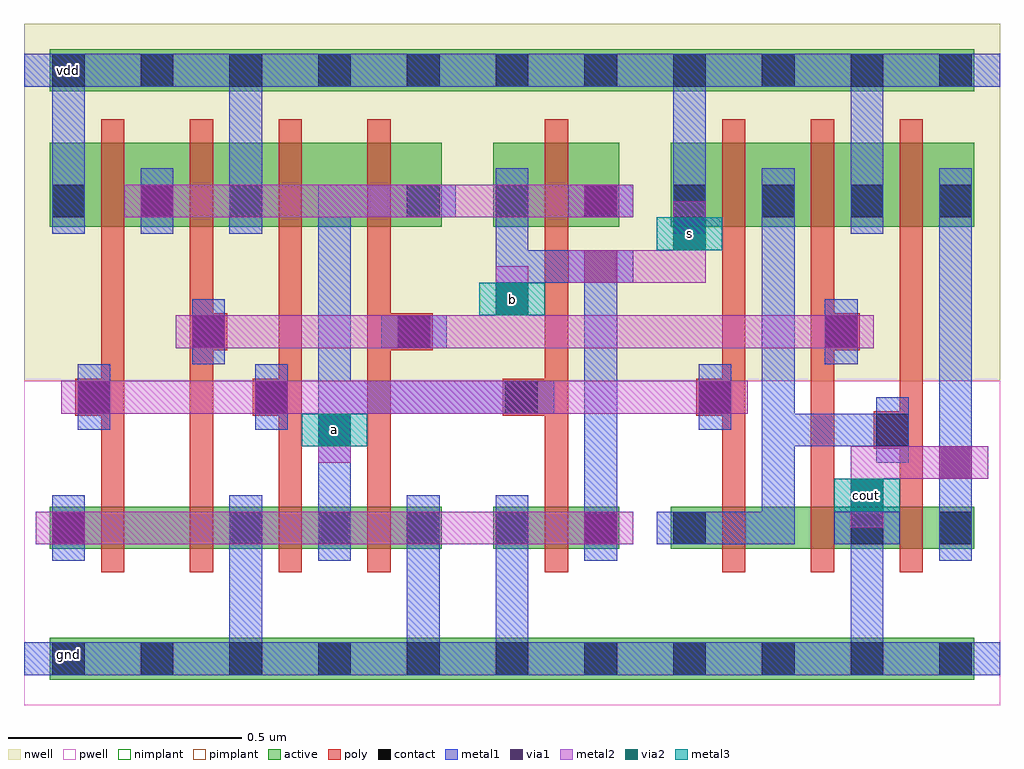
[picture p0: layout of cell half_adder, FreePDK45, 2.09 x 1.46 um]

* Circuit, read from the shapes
.subckt half_adder a b cout gnd s vdd
M1 n1 a s gnd nfet w=0.09u l=0.05u
M2 gnd b n1 gnd nfet w=0.09u l=0.05u
M3 n2 a gnd gnd nfet w=0.09u l=0.05u
M4 gnd b n2 gnd nfet w=0.09u l=0.05u
M5 s n2 gnd gnd nfet w=0.09u l=0.05u
M6 n3 a n4 gnd nfet w=0.09u l=0.05u
M7 gnd b n3 gnd nfet w=0.09u l=0.05u
M8 cout n4 gnd gnd nfet w=0.09u l=0.05u
M9 n5 a vdd vdd pfet w=0.18u l=0.05u
M10 vdd b n5 vdd pfet w=0.18u l=0.05u
M11 n6 a vdd vdd pfet w=0.18u l=0.05u
M12 n2 b n6 vdd pfet w=0.18u l=0.05u
M13 n5 n2 s vdd pfet w=0.18u l=0.05u
M14 n4 a vdd vdd pfet w=0.18u l=0.05u
M15 vdd b n4 vdd pfet w=0.18u l=0.05u
M16 cout n4 vdd vdd pfet w=0.18u l=0.05u
.ends

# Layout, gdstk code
import gdstk
lib = gdstk.Library(unit=1e-6, precision=5e-10)
def R(c, l, rs):  # rectangles x0, y0, x1, y1
    for r in rs: c.add(gdstk.rectangle(r[:2], r[2:], *l))
def A(c, l, x, y, w, h, nx, ny, dx, dy):  # array of equal rectangles
    R(c, l, [(x+i*dx, y+j*dy, x+i*dx+w, y+j*dy+h) for i in range(nx) for j in range(ny)])
active = (1, 0)
pwell = (2, 0)
nwell = (3, 0)
nimplant = (4, 0)
pimplant = (5, 0)
poly = (9, 0)
contact = (10, 0)
metal1 = (11, 0)
via1 = (12, 0)
metal2 = (13, 0)
via2 = (14, 0)
metal3 = (15, 0)

half_adder = lib.new_cell('half_adder')
R(half_adder, active, [(0.055,-0.045,2.035,0.045), (0.055,0.235,0.895,0.325), (1.005,0.235,1.275,0.325), (1.385,0.235,2.035,0.325), (0.055,0.925,0.895,1.105), (1.005,0.925,1.275,1.105), (1.385,0.925,2.035,1.105), (0.055,1.215,2.035,1.305)])
R(half_adder, pwell, [(0,-0.1,2.09,0.595)])
R(half_adder, nwell, [(0,0.595,2.09,1.36)])
R(half_adder, nimplant, [(0.055,0.235,0.895,0.325), (1.005,0.235,1.275,0.325), (1.385,0.235,2.035,0.325), (0.055,1.215,2.035,1.305)])
R(half_adder, pimplant, [(0.055,-0.045,2.035,0.045), (0.055,0.925,0.895,1.105), (1.005,0.925,1.275,1.105), (1.385,0.925,2.035,1.105)])
A(half_adder, poly, 0.165, 0.185, 0.05, 0.97, 4, 1, 0.19, 0)
A(half_adder, poly, 1.495, 0.185, 0.05, 0.97, 3, 1, 0.19, 0)
R(half_adder, poly, [(1.115,0.185,1.165,1.155), (1.82,0.45,1.875,0.53), (0.11,0.52,0.165,0.6), (0.49,0.52,0.545,0.6), (1.025,0.52,1.115,0.6), (1.44,0.52,1.495,0.6), (0.405,0.66,0.435,0.74), (0.785,0.66,0.875,0.74), (1.735,0.66,1.79,0.74)])
A(half_adder, contact, 0.06, -0.035, 0.07, 0.07, 11, 2, 0.19, 1.26)
A(half_adder, contact, 0.44, 0.245, 0.07, 0.07, 6, 1, 0.19, 0)
A(half_adder, contact, 0.06, 0.945, 0.07, 0.07, 3, 1, 0.19, 0)
A(half_adder, contact, 0.82, 0.945, 0.07, 0.07, 7, 1, 0.19, 0)
R(half_adder, contact, [(0.06,0.245,0.13,0.315), (1.77,0.245,1.84,0.315), (1.96,0.245,2.03,0.315), (1.825,0.455,1.895,0.525), (0.115,0.525,0.185,0.595), (0.495,0.525,0.565,0.595), (1.03,0.525,1.1,0.595), (1.445,0.525,1.515,0.595), (0.36,0.665,0.43,0.735), (0.8,0.665,0.87,0.735), (1.715,0.665,1.785,0.735)])
R(half_adder, metal1, [(0,-0.035,2.09,0.035), (0.44,0.035,0.51,0.35), (0.82,0.035,0.89,0.35), (1.01,0.035,1.08,0.35), (1.77,0.035,1.84,0.245), (0.06,0.21,0.13,0.35), (0.63,0.21,0.7,1.015), (1.2,0.21,1.27,0.805), (1.96,0.21,2.03,1.05), (1.355,0.245,1.58,0.315), (1.58,0.245,1.65,1.05), (1.735,0.245,1.875,0.315), (1.825,0.42,1.895,0.56), (1.65,0.455,1.825,0.525), (0.115,0.49,0.185,0.63), (0.495,0.49,0.565,0.63), (1.445,0.49,1.515,0.63), (0.7,0.525,1.135,0.595), (0.36,0.63,0.43,0.77), (1.715,0.63,1.785,0.77), (0.765,0.665,0.905,0.735), (1.01,0.805,1.305,0.875), (1.01,0.875,1.08,1.05), (0.06,0.91,0.13,1.225), (0.25,0.91,0.32,1.05), (0.44,0.91,0.51,1.225), (1.39,0.91,1.46,1.225), (1.77,0.91,1.84,1.225), (0.7,0.945,0.925,1.015), (1.165,0.945,1.305,1.015), (0,1.225,2.09,1.295)])
R(half_adder, via1, [(0.06,0.245,0.13,0.315), (1.2,0.245,1.27,0.31), (1.96,0.385,2.03,0.455), (0.115,0.525,0.185,0.595), (0.495,0.525,0.565,0.595), (1.445,0.525,1.515,0.595), (0.36,0.665,0.43,0.735), (0.8,0.665,0.87,0.735), (1.715,0.665,1.785,0.735), (1.2,0.805,1.27,0.875), (0.25,0.945,0.32,1.015), (1.2,0.95,1.27,1.015)])
R(half_adder, metal2, [(0.025,0.245,1.305,0.315), (1.77,0.28,1.84,0.455), (1.84,0.385,2.065,0.455), (0.63,0.42,0.7,0.525), (0.08,0.525,1.55,0.595), (0.325,0.665,1.82,0.735), (1.01,0.735,1.08,0.84), (1.165,0.805,1.46,0.875), (1.39,0.875,1.46,0.98), (0.215,0.945,1.305,1.015)])
R(half_adder, via2, [(1.77,0.315,1.84,0.385), (0.63,0.455,0.7,0.525), (1.01,0.735,1.08,0.805), (1.39,0.875,1.46,0.945)])
R(half_adder, metal3, [(1.735,0.315,1.875,0.385), (0.595,0.455,0.735,0.525), (0.975,0.735,1.115,0.805), (1.355,0.875,1.495,0.945)])
half_adder.add(gdstk.Label('gnd', (0.095,0.01), layer=11, texttype=0))
half_adder.add(gdstk.Label('vdd', (0.095,1.26), layer=11, texttype=0))
half_adder.add(gdstk.Label('a', (0.665,0.49), layer=15, texttype=0))
half_adder.add(gdstk.Label('s', (1.425,0.91), layer=15, texttype=0))
half_adder.add(gdstk.Label('b', (1.045,0.77), layer=15, texttype=0))
half_adder.add(gdstk.Label('cout', (1.805,0.35), layer=15, texttype=0))

lib.write_gds('half_adder.gds')
